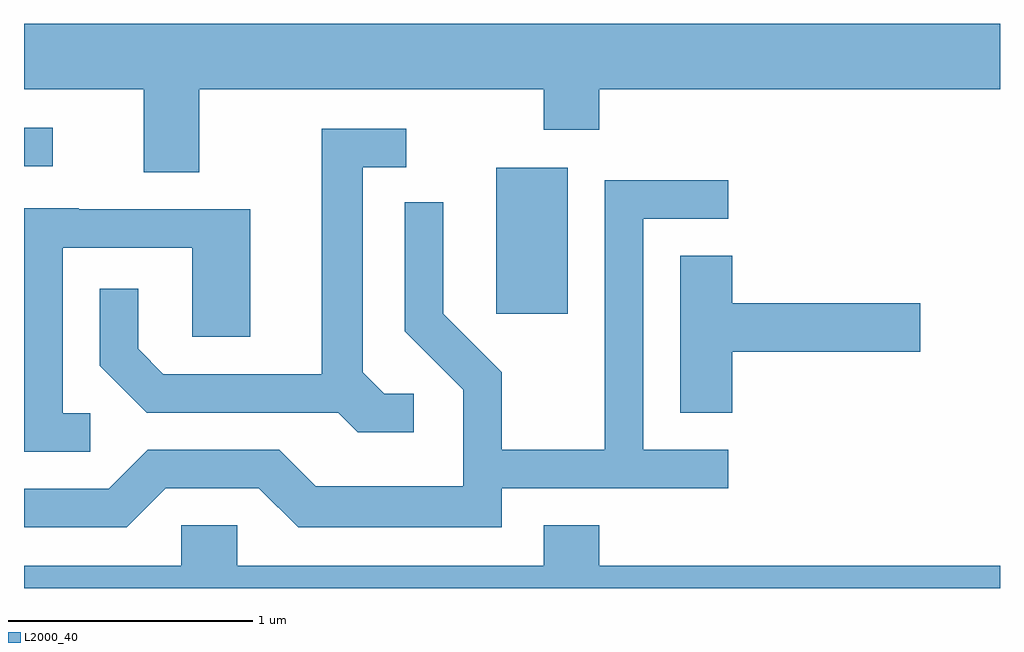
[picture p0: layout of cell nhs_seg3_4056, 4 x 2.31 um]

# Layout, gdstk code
import gdstk
lib = gdstk.Library(unit=1e-6, precision=1e-09)
def R(c, l, rs):  # rectangles x0, y0, x1, y1
    for r in rs: c.add(gdstk.rectangle(r[:2], r[2:], *l))
def P(c, l, *ps):  # polygons
    for p in ps: c.add(gdstk.Polygon(p, *l))
L2000_40 = (2000, 40)

nhs_seg3_4056 = lib.new_cell('nhs_seg3_4056')
R(nhs_seg3_4056, L2000_40, [(305.546,1205.016,305.839,1205.614), (303.611,1205.621,303.728,1205.779)])
P(nhs_seg3_4056, L2000_40, [(304.329,1205.936),(305.741,1205.936),(305.741,1205.771),(305.969,1205.771),(305.969,1205.936),(307.611,1205.936),(307.611,1206.204),(303.611,1206.204),(303.611,1205.936),(304.101,1205.936),(304.101,1205.596),(304.329,1205.596)],
  [(305.208,1204.689),(305.087,1204.689),(304.999,1204.777),(304.999,1205.616),(305.178,1205.616),(305.178,1205.774),(304.831,1205.774),(304.831,1204.769),(304.182,1204.769),(304.079,1204.872),(304.079,1205.118),(303.921,1205.118),(303.921,1204.804),(304.114,1204.611),(304.899,1204.611),(304.979,1204.531),(305.208,1204.531)],
  [(304.192,1204.301),(304.574,1204.301),(304.734,1204.141),(305.569,1204.141),(305.569,1204.301),(306.498,1204.301),(306.498,1204.459),(306.149,1204.459),(306.149,1205.406),(306.498,1205.406),(306.498,1205.564),(305.991,1205.564),(305.991,1204.459),(305.569,1204.459),(305.569,1204.777),(305.329,1205.017),(305.329,1205.473),(305.171,1205.473),(305.171,1204.944),(305.411,1204.704),(305.411,1204.309),(304.807,1204.309),(304.657,1204.459),(304.119,1204.459),(303.959,1204.299),(303.611,1204.299),(303.611,1204.141),(304.032,1204.141)],
  [(303.883,1204.609),(303.769,1204.609),(303.769,1205.286),(304.301,1205.286),(304.301,1204.921),(304.539,1204.921),(304.539,1205.444),(303.835,1205.444),(303.835,1205.449),(303.611,1205.449),(303.611,1204.451),(303.883,1204.451)],
  [(306.514,1204.861),(307.284,1204.861),(307.284,1205.059),(306.514,1205.059),(306.514,1205.254),(306.301,1205.254),(306.301,1204.611),(306.514,1204.611)],
  [(307.611,1203.984),(305.969,1203.984),(305.969,1204.149),(305.741,1204.149),(305.741,1203.984),(304.484,1203.984),(304.484,1204.149),(304.256,1204.149),(304.256,1203.984),(303.611,1203.984),(303.611,1203.892),(307.611,1203.892)])

lib.write_gds('nhs_seg3_4056.gds')
